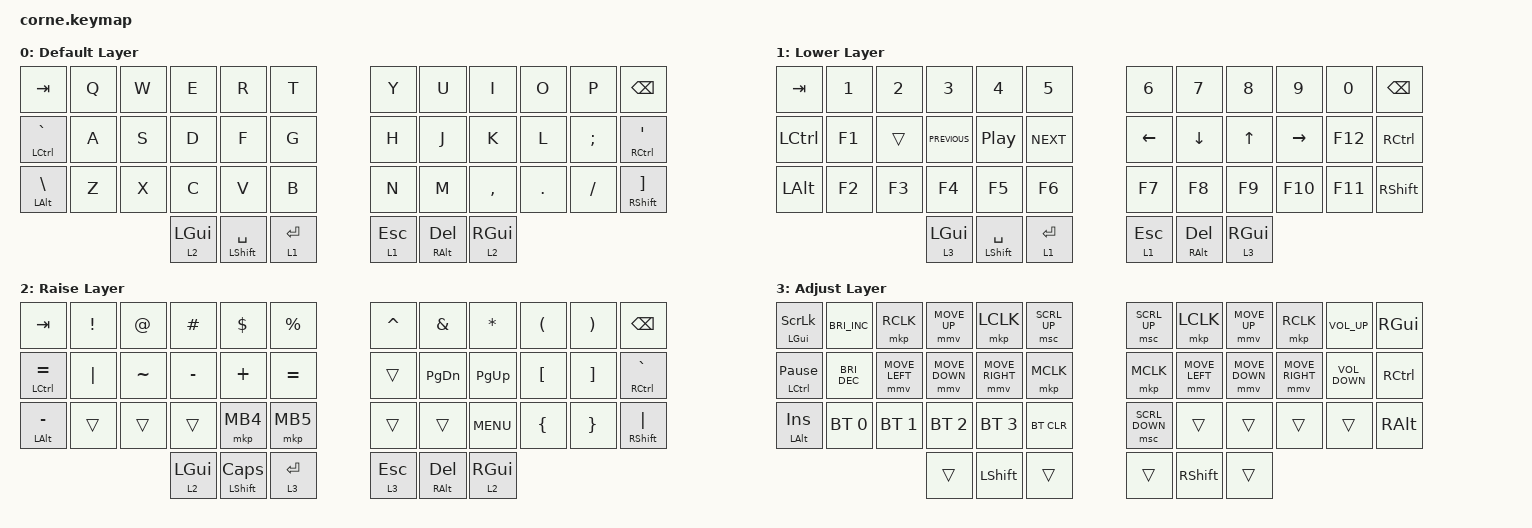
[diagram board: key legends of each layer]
/*
 * Copyright (c) 2020 The ZMK Contributors
 *
 * SPDX-License-Identifier: MIT
 */

#include <behaviors.dtsi>
#include <dt-bindings/zmk/bt.h>
#include <dt-bindings/zmk/keys.h>
#include <dt-bindings/zmk/pointing.h>

/ {
    combos {
        compatible = "zmk,combos";

        Adjust1 {
            bindings = <&mo 3>;
            key-positions = <36 38>;
        };

        Adjust2 {
            bindings = <&mo 3>;
            key-positions = <39 41>;
        };
    };

    keymap {
        compatible = "zmk,keymap";

        default_layer {
            display-name = "Default Layer";

            // -----------------------------------------------------------------------------------------
            // |  TAB |  Q  |  W  |  E  |  R  |  T  |   |  Y  |  U   |  I  |  O  |  P  | BSPC |
            // | CTRL |  A  |  S  |  D  |  F  |  G  |   |  H  |  J   |  K  |  L  |  ;  |  '   |
            // | SHFT |  Z  |  X  |  C  |  V  |  B  |   |  N  |  M   |  ,  |  .  |  /  | ESC  |
            //                    | GUI | LWR | SPC |   | ENT | RSE  | ALT |

            bindings = <
&kp TAB                 &kp Q  &kp W  &kp E           &kp R                 &kp T           &kp Y         &kp U                 &kp I            &kp O    &kp P     &kp BSPC
&mt LCTRL GRAVE         &kp A  &kp S  &kp D           &kp F                 &kp G           &kp H         &kp J                 &kp K            &kp L    &kp SEMI  &mt RCTRL APOS
&mt LEFT_ALT BACKSLASH  &kp Z  &kp X  &kp C           &kp V                 &kp B           &kp N         &kp M                 &kp COMMA        &kp DOT  &kp FSLH  &mt RIGHT_SHIFT RIGHT_BRACKET
                                      &lt 2 LEFT_GUI  &mt LEFT_SHIFT SPACE  &lt 1 RETURN    &lt 1 ESCAPE  &mt RIGHT_ALT DELETE  &lt 2 RIGHT_GUI
            >;
        };

        lower_layer {
            display-name = "Lower Layer";

            // -----------------------------------------------------------------------------------------
            // |  TAB |  1  |  2  |  3  |  4  |  5  |   |  6  |  7  |  8  |  9  |  0  | BSPC |
            // | BTCLR| BT1 | BT2 | BT3 | BT4 | BT5 |   | LFT | DWN |  UP | RGT |     |      |
            // | SHFT |     |     |     |     |     |   |     |     |     |     |     |      |
            //                    | GUI |     | SPC |   | ENT |     | ALT |

            bindings = <
&kp TAB    &kp N1  &kp N2  &kp N3          &kp N4                &kp N5         &kp N6        &kp N7                &kp N8           &kp N9     &kp N0   &kp BSPC
&kp LCTRL  &kp F1  &trans  &kp C_PREVIOUS  &kp C_PLAY_PAUSE      &kp C_NEXT     &kp LEFT      &kp DOWN              &kp UP           &kp RIGHT  &kp F12  &kp RIGHT_CONTROL
&kp LALT   &kp F2  &kp F3  &kp F4          &kp F5                &kp F6         &kp F7        &kp F8                &kp F9           &kp F10    &kp F11  &kp RIGHT_SHIFT
                           &lt 3 LEFT_GUI  &mt LEFT_SHIFT SPACE  &lt 1 ENTER    &lt 1 ESCAPE  &mt RIGHT_ALT DELETE  &lt 3 RIGHT_GUI
            >;
        };

        raise_layer {
            display-name = "Raise Layer";

            // -----------------------------------------------------------------------------------------
            // |  TAB |  !  |  @  |  #  |  $  |  %  |   |  ^  |  &  |  *  |  (  |  )  | BSPC |
            // | CTRL |     |     |     |     |     |   |  -  |  =  |  [  |  ]  |  \  |  `   |
            // | SHFT |     |     |     |     |     |   |  _  |  +  |  {  |  }  | "|" |  ~   |
            //                    | GUI |     | SPC |   | ENT |     | ALT |

            bindings = <
&kp TAB             &kp EXCL  &kp AT     &kp HASH        &kp DLLR                 &kp PRCNT      &kp CARET     &kp AMPS              &kp ASTRK        &kp LPAR          &kp RPAR           &kp BSPC
&mt LCTRL EQUAL     &kp PIPE  &kp TILDE  &kp MINUS       &kp PLUS                 &kp EQUAL      &trans        &kp PAGE_DOWN         &kp PAGE_UP      &kp LEFT_BRACKET  &kp RIGHT_BRACKET  &mt RIGHT_CONTROL GRAVE
&mt LEFT_ALT MINUS  &trans    &trans     &trans          &mkp MB4                 &mkp MB5       &trans        &trans                &kp C_MENU       &kp LEFT_BRACE    &kp RIGHT_BRACE    &mt RIGHT_SHIFT PIPE
                                         &lt 2 LEFT_GUI  &mt LEFT_SHIFT CAPSLOCK  &lt 3 ENTER    &lt 3 ESCAPE  &mt RIGHT_ALT DELETE  &lt 2 RIGHT_GUI
            >;
        };

        adjust_layer {
            bindings = <
&mt LEFT_GUI SCROLLLOCK  &kp C_BRIGHTNESS_INC  &mkp RCLK       &mmv MOVE_UP    &mkp LCLK        &msc SCRL_UP    &msc SCRL_UP    &mkp LCLK        &mmv MOVE_UP    &mkp RCLK        &kp C_VOLUME_UP    &kp RIGHT_GUI
&mt LCTRL PAUSE_BREAK    &kp C_BRIGHTNESS_DEC  &mmv MOVE_LEFT  &mmv MOVE_DOWN  &mmv MOVE_RIGHT  &mkp MCLK       &mkp MCLK       &mmv MOVE_LEFT   &mmv MOVE_DOWN  &mmv MOVE_RIGHT  &kp C_VOLUME_DOWN  &kp RCTRL
&mt LEFT_ALT INSERT      &bt BT_SEL 0          &bt BT_SEL 1    &bt BT_SEL 2    &bt BT_SEL 3     &bt BT_CLR      &msc SCRL_DOWN  &trans           &trans          &trans           &trans             &kp RIGHT_ALT
                                                               &trans          &kp LEFT_SHIFT   &trans          &trans          &kp RIGHT_SHIFT  &trans
            >;

            label = "Adjust Layer";
        };
    };
};
